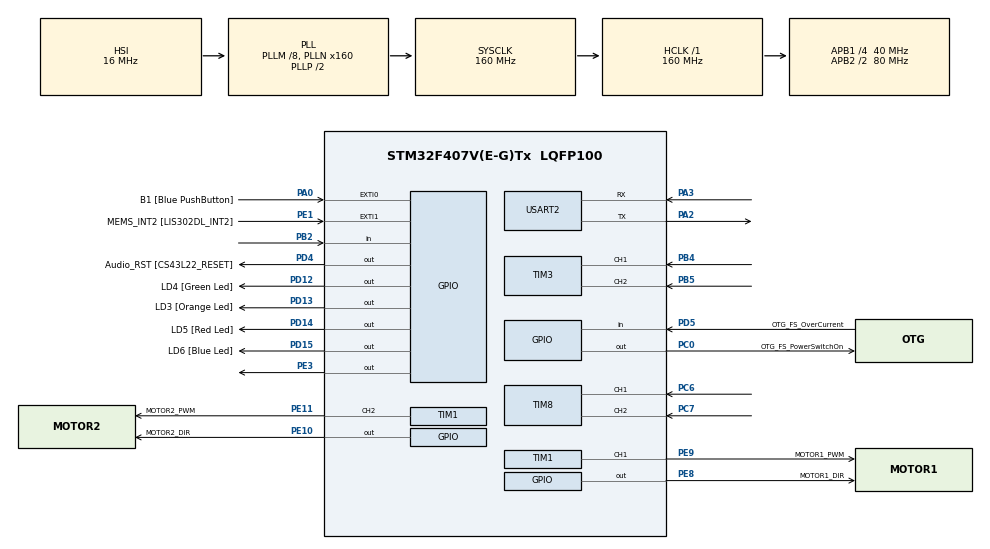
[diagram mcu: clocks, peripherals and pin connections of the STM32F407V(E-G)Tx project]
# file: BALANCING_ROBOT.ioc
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Dma.Request0=USART2_RX
Dma.USART2_RX.0.Direction=DMA_PERIPH_TO_MEMORY
Dma.USART2_RX.0.FIFOMode=DMA_FIFOMODE_DISABLE
Dma.USART2_RX.0.Instance=DMA1_Stream5
Dma.USART2_RX.0.MemDataAlignment=DMA_MDATAALIGN_BYTE
Dma.USART2_RX.0.MemInc=DMA_MINC_ENABLE
Dma.USART2_RX.0.Mode=DMA_NORMAL
Dma.USART2_RX.0.PeriphDataAlignment=DMA_PDATAALIGN_BYTE
Dma.USART2_RX.0.PeriphInc=DMA_PINC_DISABLE
Dma.USART2_RX.0.Priority=DMA_PRIORITY_LOW
Mcu.Family=STM32F4
Mcu.Name=STM32F407V(E-G)Tx
Mcu.Package=LQFP100
NVIC.DMA1_Stream5_IRQn=true\:0\:0\:false\:false\:true\:false\:true\:true
NVIC.EXTI0_IRQn=true\:0\:0\:false\:false\:true\:true\:true\:true
NVIC.PriorityGroup=NVIC_PRIORITYGROUP_0
NVIC.TIM2_IRQn=true\:0\:0\:false\:false\:true\:true\:true\:true
NVIC.USART2_IRQn=true\:0\:0\:false\:false\:true\:true\:true\:true
PA0-WKUP.GPIO_Label=B1 [Blue PushButton]
PA0-WKUP.Signal=GPXTI0
PA10.GPIO_Label=OTG_FS_ID
PA10.GPIO_Mode=GPIO_MODE_AF_PP
PA10.GPIO_PuPd=GPIO_NOPULL
PA10.GPIO_Speed=GPIO_SPEED_FREQ_LOW
PA10.Signal=USB_OTG_FS_ID
PA11.GPIO_Label=OTG_FS_DM
PA11.GPIO_Mode=GPIO_MODE_AF_PP
PA11.GPIO_PuPd=GPIO_NOPULL
PA11.GPIO_Speed=GPIO_SPEED_FREQ_LOW
PA11.Signal=USB_OTG_FS_DM
PA12.GPIO_Label=OTG_FS_DP
PA12.GPIO_Mode=GPIO_MODE_AF_PP
PA12.GPIO_PuPd=GPIO_NOPULL
PA12.GPIO_Speed=GPIO_SPEED_FREQ_LOW
PA12.Signal=USB_OTG_FS_DP
PA13.GPIO_Label=SWDIO
PA13.Signal=SYS_JTMS-SWDIO
PA14.GPIO_Label=SWCLK
PA14.Signal=SYS_JTCK-SWCLK
PA2.Mode=Asynchronous
PA2.Signal=USART2_TX
PA3.Mode=Asynchronous
PA3.Signal=USART2_RX
PA4.GPIO_Label=I2S3_WS [CS43L22_LRCK]
PA4.GPIO_Mode=GPIO_MODE_AF_PP
PA4.GPIO_PuPd=GPIO_NOPULL
PA4.GPIO_Speed=GPIO_SPEED_FREQ_LOW
PA4.Signal=I2S3_WS
PA5.GPIO_Label=SPI1_SCK [LIS302DL_SCL/SPC]
PA5.GPIO_Mode=GPIO_MODE_AF_PP
PA5.GPIO_PuPd=GPIO_NOPULL
PA5.GPIO_Speed=GPIO_SPEED_FREQ_LOW
PA5.Signal=SPI1_SCK
PA6.GPIO_Label=SPI1_MISO [LIS302DL_SDO]
PA6.GPIO_Mode=GPIO_MODE_AF_PP
PA6.GPIO_PuPd=GPIO_NOPULL
PA6.GPIO_Speed=GPIO_SPEED_FREQ_LOW
PA6.Signal=SPI1_MISO
PA7.GPIO_Label=SPI1_MOSI [LIS302DL_SDA/SDI/SDO]
PA7.GPIO_Mode=GPIO_MODE_AF_PP
PA7.GPIO_PuPd=GPIO_NOPULL
PA7.GPIO_Speed=GPIO_SPEED_FREQ_LOW
PA7.Signal=SPI1_MOSI
PA9.GPIO_Label=VBUS_FS
PA9.GPIO_Mode=GPIO_MODE_INPUT
PA9.GPIO_PuPd=GPIO_NOPULL
PA9.Signal=USB_OTG_FS_VBUS
PB10.GPIO_Label=CLK_IN [MP45DT02_CLK]
PB10.GPIO_Mode=GPIO_MODE_AF_PP
PB10.GPIO_PuPd=GPIO_NOPULL
PB10.GPIO_Speed=GPIO_SPEED_FREQ_LOW
PB10.Signal=I2S2_CK
PB2.Signal=GPIO_Input
PB3.GPIO_Label=SWO
PB3.Signal=SYS_JTDO-SWO
PB4.Signal=S_TIM3_CH1
PB5.Signal=S_TIM3_CH2
PB6.GPIO_Label=Audio_SCL [CS43L22_SCL]
PB6.GPIO_Mode=GPIO_MODE_AF_OD
PB6.GPIO_PuPd=GPIO_NOPULL
PB6.GPIO_Speed=GPIO_SPEED_FREQ_LOW
PB6.Signal=I2C1_SCL
PB9.GPIO_Label=Audio_SDA [CS43L22_SDA]
PB9.GPIO_Mode=GPIO_MODE_AF_OD
PB9.GPIO_PuPd=GPIO_NOPULL
PB9.GPIO_Speed=GPIO_SPEED_FREQ_LOW
PB9.Signal=I2C1_SDA
PC0.GPIO_Label=OTG_FS_PowerSwitchOn
PC0.GPIO_PuPd=GPIO_NOPULL
PC0.GPIO_Speed=GPIO_SPEED_FREQ_LOW
PC0.PinState=GPIO_PIN_SET
PC0.Signal=GPIO_Output
PC10.GPIO_Label=I2S3_SCK [CS43L22_SCLK]
PC10.GPIO_Mode=GPIO_MODE_AF_PP
PC10.GPIO_PuPd=GPIO_NOPULL
PC10.GPIO_Speed=GPIO_SPEED_FREQ_LOW
PC10.Signal=I2S3_CK
PC12.GPIO_Label=I2S3_SD [CS43L22_SDIN]
PC12.GPIO_Mode=GPIO_MODE_AF_PP
PC12.GPIO_PuPd=GPIO_NOPULL
PC12.GPIO_Speed=GPIO_SPEED_FREQ_LOW
PC12.Signal=I2S3_SD
PC14-OSC32_IN.GPIO_Label=PC14-OSC32_IN
PC14-OSC32_IN.Signal=RCC_OSC32_IN
PC15-OSC32_OUT.GPIO_Label=PC15-OSC32_OUT
PC15-OSC32_OUT.Signal=RCC_OSC32_OUT
PC3.GPIO_Label=PDM_OUT [MP45DT02_DOUT]
PC3.GPIO_Mode=GPIO_MODE_AF_PP
PC3.GPIO_PuPd=GPIO_NOPULL
PC3.GPIO_Speed=GPIO_SPEED_FREQ_LOW
PC3.Signal=I2S2_SD
PC6.Signal=S_TIM8_CH1
PC7.Signal=S_TIM8_CH2
PD12.GPIO_Label=LD4 [Green Led]
PD12.GPIO_PuPd=GPIO_NOPULL
PD12.GPIO_Speed=GPIO_SPEED_FREQ_LOW
PD12.Signal=GPIO_Output
PD13.GPIO_Label=LD3 [Orange Led]
PD13.GPIO_PuPd=GPIO_NOPULL
PD13.GPIO_Speed=GPIO_SPEED_FREQ_LOW
PD13.Signal=GPIO_Output
PD14.GPIO_Label=LD5 [Red Led]
PD14.GPIO_PuPd=GPIO_NOPULL
PD14.GPIO_Speed=GPIO_SPEED_FREQ_LOW
PD14.Signal=GPIO_Output
PD15.GPIO_Label=LD6 [Blue Led]
PD15.GPIO_PuPd=GPIO_NOPULL
PD15.GPIO_Speed=GPIO_SPEED_FREQ_LOW
PD15.Signal=GPIO_Output
PD4.GPIO_Label=Audio_RST [CS43L22_RESET]
PD4.GPIO_PuPd=GPIO_NOPULL
PD4.GPIO_Speed=GPIO_SPEED_FREQ_LOW
PD4.Signal=GPIO_Output
PD5.GPIO_Label=OTG_FS_OverCurrent
PD5.GPIO_Mode=GPIO_MODE_INPUT
PD5.GPIO_PuPd=GPIO_NOPULL
PD5.Signal=GPIO_Input
PE1.GPIO_Label=MEMS_INT2 [LIS302DL_INT2]
PE1.GPIO_ModeDefaultEXTI=GPIO_MODE_EVT_RISING
PE1.GPIO_PuPd=GPIO_NOPULL
PE1.Signal=GPXTI1
PE10.GPIO_Label=MOTOR2_DIR
PE10.Signal=GPIO_Output
PE11.GPIO_Label=MOTOR2_PWM
PE11.Signal=S_TIM1_CH2
PE3.Signal=GPIO_Output
PE8.GPIO_Label=MOTOR1_DIR
PE8.Signal=GPIO_Output
PE9.GPIO_Label=MOTOR1_PWM
PE9.Signal=S_TIM1_CH1
PH0-OSC_IN.GPIO_Label=PH0-OSC_IN
PH0-OSC_IN.Signal=RCC_OSC_IN
PH1-OSC_OUT.GPIO_Label=PH1-OSC_OUT
PH1-OSC_OUT.Signal=RCC_OSC_OUT
ProjectManager.HeapSize=0x200
ProjectManager.StackSize=0x400
ProjectManager.TargetToolchain=STM32CubeIDE
RCC.48MHZClocksFreq_Value=45714285.71428572
RCC.AHBFreq_Value=160000000
RCC.APB1CLKDivider=RCC_HCLK_DIV4
RCC.APB1Freq_Value=40000000
RCC.APB1TimFreq_Value=80000000
RCC.APB2CLKDivider=RCC_HCLK_DIV2
RCC.APB2Freq_Value=80000000
RCC.APB2TimFreq_Value=160000000
RCC.CortexFreq_Value=160000000
RCC.HCLKFreq_Value=160000000
RCC.HSE_VALUE=8000000
RCC.HSI_VALUE=16000000
RCC.LSE_VALUE=32768
RCC.PLLM=8
RCC.PLLN=160
RCC.PLLQ=7
RCC.SYSCLKFreq_VALUE=160000000
RCC.SYSCLKSource=RCC_SYSCLKSOURCE_PLLCLK
RCC.VCOOutputFreq_Value=320000000
SH.S_TIM1_CH1.0=TIM1_CH1,PWM Generation1 CH1
SH.S_TIM1_CH2.0=TIM1_CH2,PWM Generation2 CH2
SH.S_TIM3_CH1.0=TIM3_CH1,Encoder_Interface
SH.S_TIM3_CH2.0=TIM3_CH2,Encoder_Interface
SH.S_TIM8_CH1.0=TIM8_CH1,Encoder_Interface
SH.S_TIM8_CH2.0=TIM8_CH2,Encoder_Interface
TIM1.Channel-PWM\ Generation1\ CH1=TIM_CHANNEL_1
TIM1.Channel-PWM\ Generation2\ CH2=TIM_CHANNEL_2
TIM1.Period=9999
TIM2.Period=999
TIM2.Prescaler=79
TIM3.EncoderMode=TIM_ENCODERMODE_TI12
TIM3.IC1Filter=0
TIM3.IC2Filter=0
TIM8.EncoderMode=TIM_ENCODERMODE_TI12
USART2.VirtualMode=VM_ASYNC
VP_TIM1_VS_ClockSourceINT.Mode=Internal
VP_TIM2_VS_ClockSourceINT.Mode=Internal
board=STM32F407G-DISC1

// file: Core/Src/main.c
/* USER CODE BEGIN Header */
/**
  ******************************************************************************
  * @file           : main.c
  * @brief          : Main program body
  ******************************************************************************
  * @attention
  *
  * Copyright (c) 2022 STMicroelectronics.
  * All rights reserved.
  *
  * This software is licensed under terms that can be found in the LICENSE file
  * in the root directory of this software component.
  * If no LICENSE file comes with this software, it is provided AS-IS.
  *
  ******************************************************************************
  */
/* USER CODE END Header */
#include "main.h"

/* USER CODE BEGIN Includes */
#include "stdio.h"
#include "motor_encoder.h"
#include "motor.h"
#include "moving_average_int16.h"
/* USER CODE END Includes */

/* USER CODE BEGIN PM */
#define UPDATE_RATE  1000
/* USER CODE END PM */

 TIM_HandleTypeDef htim1;
TIM_HandleTypeDef htim2;
TIM_HandleTypeDef htim3;
TIM_HandleTypeDef htim8;

UART_HandleTypeDef huart2;
DMA_HandleTypeDef hdma_usart2_rx;

/* USER CODE BEGIN PV */
encoder_instance enc_instance_mot1, enc_instance_mot2;
static pid_instance_int16 pid_instance_mot1, pid_instance_mot2;
mov_aver_intance_int16 filter_instance1, filter_instance2;

// uart variables
static uint8_t uart_buffer[30];
/* USER CODE END PV */

void SystemClock_Config(void);
static void MX_GPIO_Init(void);
static void MX_TIM2_Init(void);
static void MX_TIM3_Init(void);
static void MX_DMA_Init(void);
static void MX_TIM1_Init(void);
static void MX_USART2_UART_Init(void);
static void MX_TIM8_Init(void);

/* USER CODE BEGIN 0 */
#define MOTOR_VEL_REFERENCE 60
int16_t motor1_vel, motor2_vel;
int32_t encoder_position;
uint16_t timer_counter;
void HAL_GPIO_EXTI_Callback(uint16_t GPIO_Pin)
{
	static uint8_t flag_button = 0;
	if(flag_button == 0)
	{
		flag_button = 1;
		pid_instance_mot1.p_gain = 230;
		pid_instance_mot1.i_gain = 100;
		pid_instance_mot1.d_gain = 20;
		printf("gains are set \n");
	}
	else
	{
		pid_instance_mot1.p_gain = 0;
		pid_instance_mot1.i_gain = 0;
		pid_instance_mot1.d_gain = 0;
		flag_button = 0;
	}
}

void HAL_TIM_PeriodElapsedCallback(TIM_HandleTypeDef *htim)
{
	 timer_counter = __HAL_TIM_GET_COUNTER(&htim3);
	 // measure velocity
	 update_encoder(&enc_instance_mot1, &htim3);

	 // applying filter
	 apply_average_filter(&filter_instance1, enc_instance_mot1.velocity, &motor1_vel);

	 if(pid_instance_mot1.d_gain != 0 || pid_instance_mot1.p_gain != 0
			 || pid_instance_mot1.i_gain != 0)
	 {
		 // PID apply
		 apply_pid(&pid_instance_mot1, MOTOR_VEL_REFERENCE - motor1_vel, UPDATE_RATE);

		 // PWM
		 if(pid_instance_mot1.output > 0)
		 {
			 __HAL_TIM_SET_COMPARE(&htim1, TIM_CHANNEL_1, pid_instance_mot1.output);
			 HAL_GPIO_WritePin(MOTOR1_DIR_GPIO_Port, MOTOR1_DIR_Pin, GPIO_PIN_SET);
		 }
		 else
		 {
			 __HAL_TIM_SET_COMPARE(&htim1, TIM_CHANNEL_1, -pid_instance_mot1.output);
			 HAL_GPIO_WritePin(MOTOR1_DIR_GPIO_Port, MOTOR1_DIR_Pin, GPIO_PIN_RESET);
		 }
	 }
	 else
	 {
		 __HAL_TIM_SET_COMPARE(&htim1, TIM_CHANNEL_1, 2000);
	 }

}

void HAL_UARTEx_RxEventCallback(UART_HandleTypeDef *huart, uint16_t Size)
{
	// format p_gain i_gain d_gain
	int8_t counter = 0;
	// until encountering empty space, extract the digits of p gain
	pid_instance_mot1.p_gain = 0;
	while(*(uart_buffer + counter) != 32 && counter < Size - 1)
	{
		pid_instance_mot1.p_gain = *(uart_buffer + counter) - 48 + pid_instance_mot1.p_gain * 10;
		counter++;
	}
	counter++;
	printf("P %d, ", (int)pid_instance_mot1.p_gain);

	// until encountering empty space, extract the digits of I gain
	pid_instance_mot1.i_gain = 0;
	while(*(uart_buffer + counter) != 32 && counter < Size - 1)
	{
		pid_instance_mot1.i_gain = *(uart_buffer + counter) - 48 + pid_instance_mot1.i_gain * 10;
		counter++;
	}
	counter++;
	printf("I %d, ", (int)pid_instance_mot1.i_gain);

	// until reaching the end, extract the digits of D gain
	pid_instance_mot1.d_gain = 0;
	while(counter < Size - 1)
	{
		pid_instance_mot1.d_gain = *(uart_buffer + counter) - 48 + pid_instance_mot1.d_gain * 10;
		counter++;
	}
	printf("D %d\n", (int)pid_instance_mot1.d_gain);

	// receiving the next command
	HAL_UARTEx_ReceiveToIdle_DMA(&huart2, uart_buffer, 30);
}
/* USER CODE END 0 */

int main(void)
{

  /* MCU Configuration--------------------------------------------------------*/

  /* Reset of all peripherals, Initializes the Flash interface and the Systick. */
  HAL_Init();

  /* Configure the system clock */
  SystemClock_Config();

  /* Initialize all configured peripherals */
  MX_GPIO_Init();
  MX_TIM2_Init();
  MX_TIM3_Init();
  MX_DMA_Init();
  MX_TIM1_Init();
  MX_USART2_UART_Init();
  MX_TIM8_Init();

  /* Infinite loop */
  while (1)
  {

  }
}

void SystemClock_Config(void)
{
  RCC_OscInitTypeDef RCC_OscInitStruct = {0};
  RCC_ClkInitTypeDef RCC_ClkInitStruct = {0};

  /** Configure the main internal regulator output voltage
  */
  __HAL_RCC_PWR_CLK_ENABLE();
  __HAL_PWR_VOLTAGESCALING_CONFIG(PWR_REGULATOR_VOLTAGE_SCALE1);

  /** Initializes the RCC Oscillators according to the specified parameters
  * in the RCC_OscInitTypeDef structure.
  */
  RCC_OscInitStruct.OscillatorType = RCC_OSCILLATORTYPE_HSI;
  RCC_OscInitStruct.HSIState = RCC_HSI_ON;
  RCC_OscInitStruct.HSICalibrationValue = RCC_HSICALIBRATION_DEFAULT;
  RCC_OscInitStruct.PLL.PLLState = RCC_PLL_ON;
  RCC_OscInitStruct.PLL.PLLSource = RCC_PLLSOURCE_HSI;
  RCC_OscInitStruct.PLL.PLLM = 8;
  RCC_OscInitStruct.PLL.PLLN = 160;
  RCC_OscInitStruct.PLL.PLLP = RCC_PLLP_DIV2;
  RCC_OscInitStruct.PLL.PLLQ = 7;
  if (HAL_RCC_OscConfig(&RCC_OscInitStruct) != HAL_OK)
  {
    Error_Handler();
  }

  /** Initializes the CPU, AHB and APB buses clocks
  */
  RCC_ClkInitStruct.ClockType = RCC_CLOCKTYPE_HCLK|RCC_CLOCKTYPE_SYSCLK
                              |RCC_CLOCKTYPE_PCLK1|RCC_CLOCKTYPE_PCLK2;
  RCC_ClkInitStruct.SYSCLKSource = RCC_SYSCLKSOURCE_PLLCLK;
  RCC_ClkInitStruct.AHBCLKDivider = RCC_SYSCLK_DIV1;
  RCC_ClkInitStruct.APB1CLKDivider = RCC_HCLK_DIV4;
  RCC_ClkInitStruct.APB2CLKDivider = RCC_HCLK_DIV2;

  if (HAL_RCC_ClockConfig(&RCC_ClkInitStruct, FLASH_LATENCY_5) != HAL_OK)
  {
    Error_Handler();
  }
}

static void MX_TIM1_Init(void)
{

  TIM_ClockConfigTypeDef sClockSourceConfig = {0};
  TIM_MasterConfigTypeDef sMasterConfig = {0};
  TIM_OC_InitTypeDef sConfigOC = {0};
  TIM_BreakDeadTimeConfigTypeDef sBreakDeadTimeConfig = {0};

  htim1.Instance = TIM1;
  htim1.Init.Prescaler = 0;
  htim1.Init.CounterMode = TIM_COUNTERMODE_UP;
  htim1.Init.Period = 9999;
  htim1.Init.ClockDivision = TIM_CLOCKDIVISION_DIV1;
  htim1.Init.RepetitionCounter = 0;
  htim1.Init.AutoReloadPreload = TIM_AUTORELOAD_PRELOAD_DISABLE;
  if (HAL_TIM_Base_Init(&htim1) != HAL_OK)
  {
    Error_Handler();
  }
  sClockSourceConfig.ClockSource = TIM_CLOCKSOURCE_INTERNAL;
  if (HAL_TIM_ConfigClockSource(&htim1, &sClockSourceConfig) != HAL_OK)
  {
    Error_Handler();
  }
  if (HAL_TIM_PWM_Init(&htim1) != HAL_OK)
  {
    Error_Handler();
  }
  sMasterConfig.MasterOutputTrigger = TIM_TRGO_RESET;
  sMasterConfig.MasterSlaveMode = TIM_MASTERSLAVEMODE_DISABLE;
  if (HAL_TIMEx_MasterConfigSynchronization(&htim1, &sMasterConfig) != HAL_OK)
  {
    Error_Handler();
  }
  sConfigOC.OCMode = TIM_OCMODE_PWM1;
  sConfigOC.Pulse = 0;
  sConfigOC.OCPolarity = TIM_OCPOLARITY_HIGH;
  sConfigOC.OCNPolarity = TIM_OCNPOLARITY_HIGH;
  sConfigOC.OCFastMode = TIM_OCFAST_DISABLE;
  sConfigOC.OCIdleState = TIM_OCIDLESTATE_RESET;
  sConfigOC.OCNIdleState = TIM_OCNIDLESTATE_RESET;
  if (HAL_TIM_PWM_ConfigChannel(&htim1, &sConfigOC, TIM_CHANNEL_1) != HAL_OK)
  {
    Error_Handler();
  }
  if (HAL_TIM_PWM_ConfigChannel(&htim1, &sConfigOC, TIM_CHANNEL_2) != HAL_OK)
  {
    Error_Handler();
  }
  sBreakDeadTimeConfig.OffStateRunMode = TIM_OSSR_DISABLE;
  sBreakDeadTimeConfig.OffStateIDLEMode = TIM_OSSI_DISABLE;
  sBreakDeadTimeConfig.LockLevel = TIM_LOCKLEVEL_OFF;
  sBreakDeadTimeConfig.DeadTime = 0;
  sBreakDeadTimeConfig.BreakState = TIM_BREAK_DISABLE;
  sBreakDeadTimeConfig.BreakPolarity = TIM_BREAKPOLARITY_HIGH;
  sBreakDeadTimeConfig.AutomaticOutput = TIM_AUTOMATICOUTPUT_DISABLE;
  if (HAL_TIMEx_ConfigBreakDeadTime(&htim1, &sBreakDeadTimeConfig) != HAL_OK)
  {
    Error_Handler();
  }
  /* USER CODE BEGIN TIM1_Init 2 */
  HAL_TIM_Base_Start(&htim1);
  HAL_TIM_PWM_Start(&htim1, TIM_CHANNEL_1);
  HAL_TIM_PWM_Start(&htim1, TIM_CHANNEL_2);

  /* USER CODE END TIM1_Init 2 */
  HAL_TIM_MspPostInit(&htim1);

}

static void MX_TIM2_Init(void)
{

  TIM_ClockConfigTypeDef sClockSourceConfig = {0};
  TIM_MasterConfigTypeDef sMasterConfig = {0};

  htim2.Instance = TIM2;
  htim2.Init.Prescaler = 79;
  htim2.Init.CounterMode = TIM_COUNTERMODE_UP;
  htim2.Init.Period = 999;
  htim2.Init.ClockDivision = TIM_CLOCKDIVISION_DIV1;
  htim2.Init.AutoReloadPreload = TIM_AUTORELOAD_PRELOAD_DISABLE;
  if (HAL_TIM_Base_Init(&htim2) != HAL_OK)
  {
    Error_Handler();
  }
  sClockSourceConfig.ClockSource = TIM_CLOCKSOURCE_INTERNAL;
  if (HAL_TIM_ConfigClockSource(&htim2, &sClockSourceConfig) != HAL_OK)
  {
    Error_Handler();
  }
  sMasterConfig.MasterOutputTrigger = TIM_TRGO_RESET;
  sMasterConfig.MasterSlaveMode = TIM_MASTERSLAVEMODE_DISABLE;
  if (HAL_TIMEx_MasterConfigSynchronization(&htim2, &sMasterConfig) != HAL_OK)
  {
    Error_Handler();
  }
  /* USER CODE BEGIN TIM2_Init 2 */
  HAL_TIM_Base_Start_IT(&htim2);
  HAL_TIM_Base_Start(&htim2);
  /* USER CODE END TIM2_Init 2 */

}

static void MX_TIM3_Init(void)
{

  TIM_Encoder_InitTypeDef sConfig = {0};
  TIM_MasterConfigTypeDef sMasterConfig = {0};

  htim3.Instance = TIM3;
  htim3.Init.Prescaler = 0;
  htim3.Init.CounterMode = TIM_COUNTERMODE_UP;
  htim3.Init.Period = 65535;
  htim3.Init.ClockDivision = TIM_CLOCKDIVISION_DIV1;
  htim3.Init.AutoReloadPreload = TIM_AUTORELOAD_PRELOAD_DISABLE;
  sConfig.EncoderMode = TIM_ENCODERMODE_TI12;
  sConfig.IC1Polarity = TIM_ICPOLARITY_RISING;
  sConfig.IC1Selection = TIM_ICSELECTION_DIRECTTI;
  sConfig.IC1Prescaler = TIM_ICPSC_DIV1;
  sConfig.IC1Filter = 0;
  sConfig.IC2Polarity = TIM_ICPOLARITY_RISING;
  sConfig.IC2Selection = TIM_ICSELECTION_DIRECTTI;
  sConfig.IC2Prescaler = TIM_ICPSC_DIV1;
  sConfig.IC2Filter = 0;
  if (HAL_TIM_Encoder_Init(&htim3, &sConfig) != HAL_OK)
  {
    Error_Handler();
  }
  sMasterConfig.MasterOutputTrigger = TIM_TRGO_RESET;
  sMasterConfig.MasterSlaveMode = TIM_MASTERSLAVEMODE_DISABLE;
  if (HAL_TIMEx_MasterConfigSynchronization(&htim3, &sMasterConfig) != HAL_OK)
  {
    Error_Handler();
  }
  /* USER CODE BEGIN TIM3_Init 2 */
  HAL_TIM_Encoder_Start(&htim3, TIM_CHANNEL_ALL);
  /* USER CODE END TIM3_Init 2 */

}

static void MX_TIM8_Init(void)
{

  TIM_Encoder_InitTypeDef sConfig = {0};
  TIM_MasterConfigTypeDef sMasterConfig = {0};

  htim8.Instance = TIM8;
  htim8.Init.Prescaler = 0;
  htim8.Init.CounterMode = TIM_COUNTERMODE_UP;
  htim8.Init.Period = 65535;
  htim8.Init.ClockDivision = TIM_CLOCKDIVISION_DIV1;
  htim8.Init.RepetitionCounter = 0;
  htim8.Init.AutoReloadPreload = TIM_AUTORELOAD_PRELOAD_DISABLE;
  sConfig.EncoderMode = TIM_ENCODERMODE_TI12;
  sConfig.IC1Polarity = TIM_ICPOLARITY_RISING;
  sConfig.IC1Selection = TIM_ICSELECTION_DIRECTTI;
  sConfig.IC1Prescaler = TIM_ICPSC_DIV1;
  sConfig.IC1Filter = 0;
  sConfig.IC2Polarity = TIM_ICPOLARITY_RISING;
  sConfig.IC2Selection = TIM_ICSELECTION_DIRECTTI;
  sConfig.IC2Prescaler = TIM_ICPSC_DIV1;
  sConfig.IC2Filter = 0;
  if (HAL_TIM_Encoder_Init(&htim8, &sConfig) != HAL_OK)
  {
    Error_Handler();
  }
  sMasterConfig.MasterOutputTrigger = TIM_TRGO_RESET;
  sMasterConfig.MasterSlaveMode = TIM_MASTERSLAVEMODE_DISABLE;
  if (HAL_TIMEx_MasterConfigSynchronization(&htim8, &sMasterConfig) != HAL_OK)
  {
    Error_Handler();
  }
  /* USER CODE BEGIN TIM8_Init 2 */
  HAL_TIM_Encoder_Start(&htim8, TIM_CHANNEL_ALL);
  /* USER CODE END TIM8_Init 2 */

}

static void MX_USART2_UART_Init(void)
{

  huart2.Instance = USART2;
  huart2.Init.BaudRate = 115200;
  huart2.Init.WordLength = UART_WORDLENGTH_8B;
  huart2.Init.StopBits = UART_STOPBITS_1;
  huart2.Init.Parity = UART_PARITY_NONE;
  huart2.Init.Mode = UART_MODE_TX_RX;
  huart2.Init.HwFlowCtl = UART_HWCONTROL_NONE;
  huart2.Init.OverSampling = UART_OVERSAMPLING_16;
  if (HAL_UART_Init(&huart2) != HAL_OK)
  {
    Error_Handler();
  }

}

static void MX_DMA_Init(void)
{

  /* DMA controller clock enable */
  __HAL_RCC_DMA1_CLK_ENABLE();

  /* DMA interrupt init */
  /* DMA1_Stream5_IRQn interrupt configuration */
  HAL_NVIC_SetPriority(DMA1_Stream5_IRQn, 0, 0);
  HAL_NVIC_EnableIRQ(DMA1_Stream5_IRQn);

}

static void MX_GPIO_Init(void)
{
  GPIO_InitTypeDef GPIO_InitStruct = {0};

  /* GPIO Ports Clock Enable */
  __HAL_RCC_GPIOE_CLK_ENABLE();
  __HAL_RCC_GPIOC_CLK_ENABLE();
  __HAL_RCC_GPIOH_CLK_ENABLE();
  __HAL_RCC_GPIOA_CLK_ENABLE();
  __HAL_RCC_GPIOB_CLK_ENABLE();
  __HAL_RCC_GPIOD_CLK_ENABLE();

  /*Configure GPIO pin Output Level */
  HAL_GPIO_WritePin(GPIOE, GPIO_PIN_3|MOTOR1_DIR_Pin|MOTOR2_DIR_Pin, GPIO_PIN_RESET);

  /*Configure GPIO pin Output Level */
  HAL_GPIO_WritePin(OTG_FS_PowerSwitchOn_GPIO_Port, OTG_FS_PowerSwitchOn_Pin, GPIO_PIN_SET);

  /*Configure GPIO pin Output Level */
  HAL_GPIO_WritePin(GPIOD, LD4_Pin|LD3_Pin|LD5_Pin|LD6_Pin
                          |Audio_RST_Pin, GPIO_PIN_RESET);

  /*Configure GPIO pins : PE3 MOTOR1_DIR_Pin MOTOR2_DIR_Pin */
  GPIO_InitStruct.Pin = GPIO_PIN_3|MOTOR1_DIR_Pin|MOTOR2_DIR_Pin;
  GPIO_InitStruct.Mode = GPIO_MODE_OUTPUT_PP;
  GPIO_InitStruct.Pull = GPIO_NOPULL;
  GPIO_InitStruct.Speed = GPIO_SPEED_FREQ_LOW;
  HAL_GPIO_Init(GPIOE, &GPIO_InitStruct);

  /*Configure GPIO pin : OTG_FS_PowerSwitchOn_Pin */
  GPIO_InitStruct.Pin = OTG_FS_PowerSwitchOn_Pin;
  GPIO_InitStruct.Mode = GPIO_MODE_OUTPUT_PP;
  GPIO_InitStruct.Pull = GPIO_NOPULL;
  GPIO_InitStruct.Speed = GPIO_SPEED_FREQ_LOW;
  HAL_GPIO_Init(OTG_FS_PowerSwitchOn_GPIO_Port, &GPIO_InitStruct);

  /*Configure GPIO pin : PDM_OUT_Pin */
  GPIO_InitStruct.Pin = PDM_OUT_Pin;
  GPIO_InitStruct.Mode = GPIO_MODE_AF_PP;
  GPIO_InitStruct.Pull = GPIO_NOPULL;
  GPIO_InitStruct.Speed = GPIO_SPEED_FREQ_LOW;
  GPIO_InitStruct.Alternate = GPIO_AF5_SPI2;
  HAL_GPIO_Init(PDM_OUT_GPIO_Port, &GPIO_InitStruct);

  /*Configure GPIO pin : B1_Pin */
  GPIO_InitStruct.Pin = B1_Pin;
  GPIO_InitStruct.Mode = GPIO_MODE_IT_RISING;
  GPIO_InitStruct.Pull = GPIO_NOPULL;
  HAL_GPIO_Init(B1_GPIO_Port, &GPIO_InitStruct);

  /*Configure GPIO pin : I2S3_WS_Pin */
  GPIO_InitStruct.Pin = I2S3_WS_Pin;
  GPIO_InitStruct.Mode = GPIO_MODE_AF_PP;
  GPIO_InitStruct.Pull = GPIO_NOPULL;
  GPIO_InitStruct.Speed = GPIO_SPEED_FREQ_LOW;
  GPIO_InitStruct.Alternate = GPIO_AF6_SPI3;
  HAL_GPIO_Init(I2S3_WS_GPIO_Port, &GPIO_InitStruct);

  /*Configure GPIO pins : SPI1_SCK_Pin SPI1_MISO_Pin SPI1_MOSI_Pin */
  GPIO_InitStruct.Pin = SPI1_SCK_Pin|SPI1_MISO_Pin|SPI1_MOSI_Pin;
  GPIO_InitStruct.Mode = GPIO_MODE_AF_PP;
  GPIO_InitStruct.Pull = GPIO_NOPULL;
  GPIO_InitStruct.Speed = GPIO_SPEED_FREQ_LOW;
  GPIO_InitStruct.Alternate = GPIO_AF5_SPI1;
  HAL_GPIO_Init(GPIOA, &GPIO_InitStruct);

  /*Configure GPIO pin : PB2 */
  GPIO_InitStruct.Pin = GPIO_PIN_2;
  GPIO_InitStruct.Mode = GPIO_MODE_INPUT;
  GPIO_InitStruct.Pull = GPIO_NOPULL;
  HAL_GPIO_Init(GPIOB, &GPIO_InitStruct);

  /*Configure GPIO pin : CLK_IN_Pin */
  GPIO_InitStruct.Pin = CLK_IN_Pin;
  GPIO_InitStruct.Mode = GPIO_MODE_AF_PP;
  GPIO_InitStruct.Pull = GPIO_NOPULL;
  GPIO_InitStruct.Speed = GPIO_SPEED_FREQ_LOW;
  GPIO_InitStruct.Alternate = GPIO_AF5_SPI2;
  HAL_GPIO_Init(CLK_IN_GPIO_Port, &GPIO_InitStruct);

  /*Configure GPIO pins : LD4_Pin LD3_Pin LD5_Pin LD6_Pin
                           Audio_RST_Pin */
  GPIO_InitStruct.Pin = LD4_Pin|LD3_Pin|LD5_Pin|LD6_Pin
                          |Audio_RST_Pin;
  GPIO_InitStruct.Mode = GPIO_MODE_OUTPUT_PP;
  GPIO_InitStruct.Pull = GPIO_NOPULL;
  GPIO_InitStruct.Speed = GPIO_SPEED_FREQ_LOW;
  HAL_GPIO_Init(GPIOD, &GPIO_InitStruct);

  /*Configure GPIO pin : VBUS_FS_Pin */
  GPIO_InitStruct.Pin = VBUS_FS_Pin;
  GPIO_InitStruct.Mode = GPIO_MODE_INPUT;
  GPIO_InitStruct.Pull = GPIO_NOPULL;
  HAL_GPIO_Init(VBUS_FS_GPIO_Port, &GPIO_InitStruct);

  /*Configure GPIO pins : OTG_FS_ID_Pin OTG_FS_DM_Pin OTG_FS_DP_Pin */
  GPIO_InitStruct.Pin = OTG_FS_ID_Pin|OTG_FS_DM_Pin|OTG_FS_DP_Pin;
  GPIO_InitStruct.Mode = GPIO_MODE_AF_PP;
  GPIO_InitStruct.Pull = GPIO_NOPULL;
  GPIO_InitStruct.Speed = GPIO_SPEED_FREQ_LOW;
  GPIO_InitStruct.Alternate = GPIO_AF10_OTG_FS;
  HAL_GPIO_Init(GPIOA, &GPIO_InitStruct);

  /*Configure GPIO pins : I2S3_SCK_Pin I2S3_SD_Pin */
  GPIO_InitStruct.Pin = I2S3_SCK_Pin|I2S3_SD_Pin;
  GPIO_InitStruct.Mode = GPIO_MODE_AF_PP;
  GPIO_InitStruct.Pull = GPIO_NOPULL;
  GPIO_InitStruct.Speed = GPIO_SPEED_FREQ_LOW;
  GPIO_InitStruct.Alternate = GPIO_AF6_SPI3;
  HAL_GPIO_Init(GPIOC, &GPIO_InitStruct);

  /*Configure GPIO pin : OTG_FS_OverCurrent_Pin */
  GPIO_InitStruct.Pin = OTG_FS_OverCurrent_Pin;
  GPIO_InitStruct.Mode = GPIO_MODE_INPUT;
  GPIO_InitStruct.Pull = GPIO_NOPULL;
  HAL_GPIO_Init(OTG_FS_OverCurrent_GPIO_Port, &GPIO_InitStruct);

  /*Configure GPIO pins : Audio_SCL_Pin Audio_SDA_Pin */
  GPIO_InitStruct.Pin = Audio_SCL_Pin|Audio_SDA_Pin;
  GPIO_InitStruct.Mode = GPIO_MODE_AF_OD;
  GPIO_InitStruct.Pull = GPIO_NOPULL;
  GPIO_InitStruct.Speed = GPIO_SPEED_FREQ_LOW;
  GPIO_InitStruct.Alternate = GPIO_AF4_I2C1;
  HAL_GPIO_Init(GPIOB, &GPIO_InitStruct);

  /*Configure GPIO pin : MEMS_INT2_Pin */
  GPIO_InitStruct.Pin = MEMS_INT2_Pin;
  GPIO_InitStruct.Mode = GPIO_MODE_EVT_RISING;
  GPIO_InitStruct.Pull = GPIO_NOPULL;
  HAL_GPIO_Init(MEMS_INT2_GPIO_Port, &GPIO_InitStruct);

  /* EXTI interrupt init*/
  HAL_NVIC_SetPriority(EXTI0_IRQn, 0, 0);
  HAL_NVIC_EnableIRQ(EXTI0_IRQn);

}

/* USER CODE BEGIN 4 */
int _write(int file, char *ptr, int len)
{
	int DataIdx;

	for (DataIdx = 0; DataIdx < len; DataIdx++)
	{
		ITM_SendChar(*ptr++);
	}
	return len;
}

/* USER CODE END 4 */

void Error_Handler(void)
{
  __disable_irq();
  while (1)
  {
  }
}
